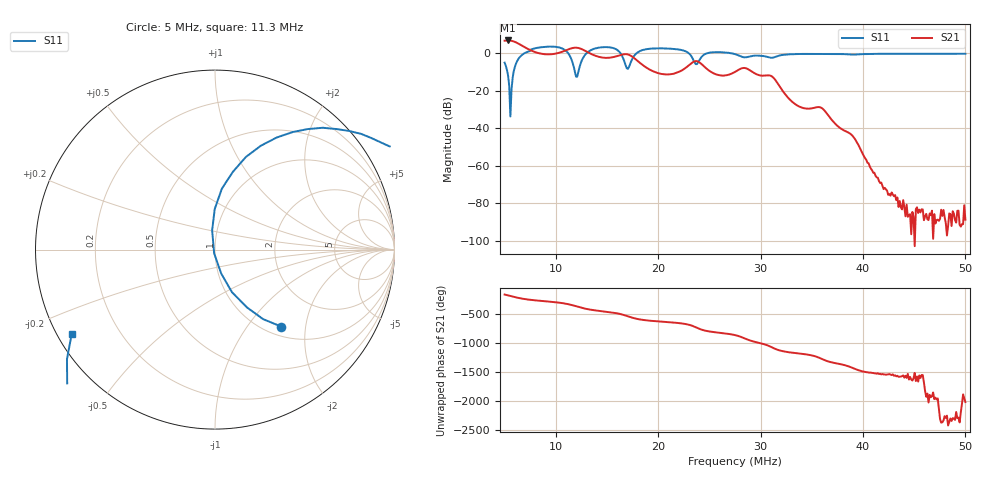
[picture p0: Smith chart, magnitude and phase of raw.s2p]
! S11/S21 only; reverse parameters are placeholders. Device calibration unverified.
! NanoVNA F V2 profile | COM3 | 2026-09-08T12:32:03.0273155-04:00 | device calibration unverified
# HZ S RI R 50
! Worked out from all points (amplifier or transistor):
!   401 points, 5 MHz to 50 MHz, reference 50 ohm
!   highest |S21| = 6.9 dB at 5.338 MHz (marker M1)
!   |S21| within 3 dB of that: start of sweep to 6.766 MHz
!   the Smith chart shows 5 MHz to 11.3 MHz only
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5000000  0.3695 -0.429  -2.03 -0.7865  0 0  0 0
5337500  0.0948 -0.2376  -2.191 -0.283  0 0  0 0
6237500  0.2551 0.5786  -1.588 1.024  0 0  0 0
7025000  0.8147 0.6447  -0.7383 1.219  0 0  0 0
7250000  0.9244 0.5968  -0.5686 1.192  0 0  0 0
7812500  0.5042 -1.232  -0.2717 1.09  0 0  0 0
8937500  0.1175 -1.489  0.0761 0.9458  0 0  0 0
1.11875e7  -0.8247 -0.6101  1.034 0.7324  0 0  0 0
1.25375e7  0.6419 0.0785  1.131 -0.6327  0 0  0 0
1.36625e7  1.041 -0.7852  0.3408 -0.8424  0 0  0 0
1.52375e7  0.4661 -1.376  -0.1684 -0.7469  0 0  0 0
1.65875e7  -0.578 -0.4423  -0.8108 -0.4776  0 0  0 0
1.74875e7  0.5066 0.5243  -0.7619 0.2792  0 0  0 0
2.0075e7  1.259 -0.5145  -0.0304 0.2914  0 0  0 0
2.26625e7  0.7761 -0.8367  0.253 0.3201  0 0  0 0
2.3675e7  0.4134 -0.3104  0.6197 -0.0559  0 0  0 0
2.75e7  0.7689 -0.566  -0.2459 -0.2051  0 0  0 0
2.91875e7  0.7588 -0.393  -0.1346 0.2917  0 0  0 0
3.50375e7  0.6998 -0.6674  -0.0234 -0.0252  0 0  0 0
3.8975e7  0.5347 -0.7588  0.00623 0.00138  0 0  0 0
4.2575e7  0.4424 -0.8686  -1.3e-05 -0.000178  0 0  0 0
5e7  0.1605 -0.9635  -2.9e-05 2.3e-05  0 0  0 0
